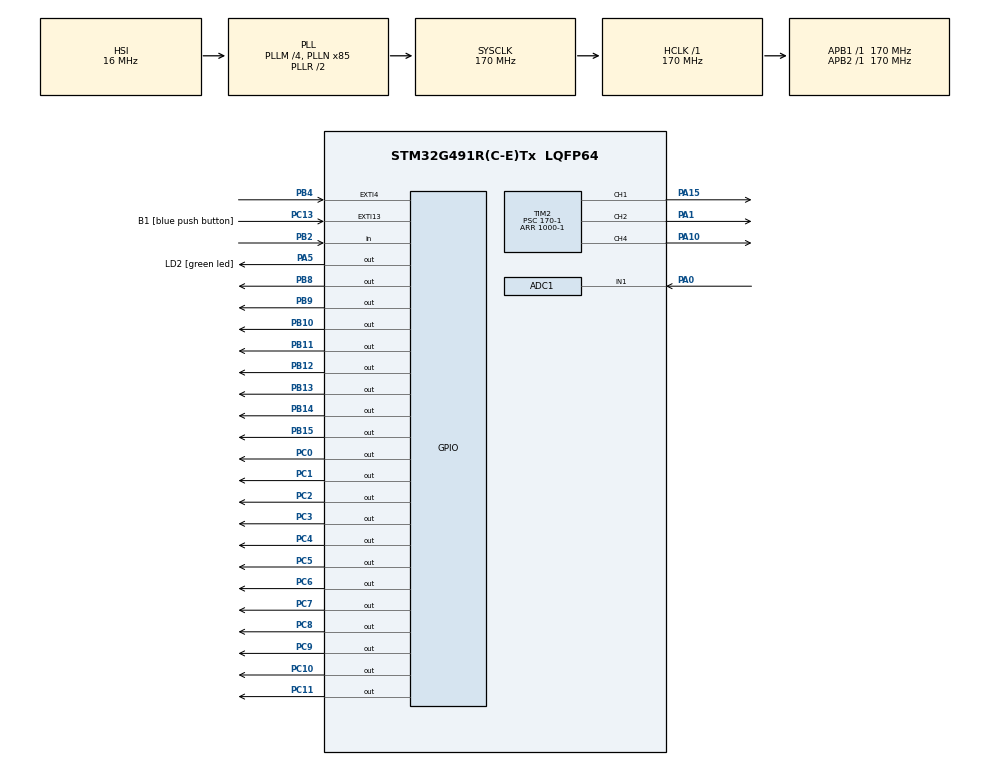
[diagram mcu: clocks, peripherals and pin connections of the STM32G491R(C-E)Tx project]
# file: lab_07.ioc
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ADC1.Channel-0\#ChannelRegularConversion=ADC_CHANNEL_1
ADC1.ContinuousConvMode=DISABLE
ADC1.NbrOfConversionFlag=1
ADC1.OffsetNumber-0\#ChannelRegularConversion=ADC_OFFSET_NONE
ADC1.Rank-0\#ChannelRegularConversion=1
ADC1.Resolution=ADC_RESOLUTION_10B
ADC1.SamplingTime-0\#ChannelRegularConversion=ADC_SAMPLETIME_2CYCLES_5
ADC1.master=1
Mcu.Family=STM32G4
Mcu.Name=STM32G491R(C-E)Tx
Mcu.Package=LQFP64
NVIC.ADC1_2_IRQn=true\:0\:0\:false\:false\:true\:true\:true\:true
NVIC.EXTI15_10_IRQn=true\:0\:0\:false\:false\:true\:true\:true\:true
NVIC.EXTI4_IRQn=true\:0\:0\:false\:false\:true\:true\:true\:true
NVIC.PriorityGroup=NVIC_PRIORITYGROUP_4
NVIC.TIM2_IRQn=true\:0\:0\:false\:false\:true\:true\:true\:true
NVIC.TIM3_IRQn=true\:0\:0\:false\:false\:true\:true\:true\:true
NVIC.TIM4_IRQn=true\:0\:0\:false\:false\:true\:true\:true\:true
PA0.Mode=IN1-Single-Ended
PA0.Signal=ADC1_IN1
PA1.Signal=S_TIM2_CH2
PA10.Signal=S_TIM2_CH4
PA13.GPIO_Label=T_SWDIO
PA13.Signal=SYS_JTMS-SWDIO
PA14.GPIO_Label=T_SWCLK
PA14.Signal=SYS_JTCK-SWCLK
PA15.Signal=S_TIM2_CH1
PA2.GPIO_Label=LPUART1_TX [STLINKV3E_VCP_RX]
PA2.Signal=LPUART1_TX
PA3.GPIO_Label=LPUART1_RX [STLINKV3E_VCP_TX]
PA3.Signal=LPUART1_RX
PA5.GPIO_Label=LD2 [green led]
PA5.Signal=GPIO_Output
PB10.Signal=GPIO_Output
PB11.Signal=GPIO_Output
PB12.Signal=GPIO_Output
PB13.Signal=GPIO_Output
PB14.Signal=GPIO_Output
PB15.Signal=GPIO_Output
PB2.Signal=GPIO_Input
PB3.GPIO_Label=T_SWO
PB3.Signal=SYS_JTDO-SWO
PB4.Signal=GPXTI4
PB8-BOOT0.Signal=GPIO_Output
PB9.Signal=GPIO_Output
PC0.Signal=GPIO_Output
PC1.Signal=GPIO_Output
PC10.Signal=GPIO_Output
PC11.Signal=GPIO_Output
PC13.GPIO_Label=B1 [blue push button]
PC13.Signal=GPXTI13
PC14-OSC32_IN.GPIO_Label=RCC_OSC32_IN
PC14-OSC32_IN.Signal=RCC_OSC32_IN
PC15-OSC32_OUT.GPIO_Label=RCC_OSC32_OUT
PC15-OSC32_OUT.Signal=RCC_OSC32_OUT
PC2.Signal=GPIO_Output
PC3.Signal=GPIO_Output
PC4.Signal=GPIO_Output
PC5.Signal=GPIO_Output
PC6.Signal=GPIO_Output
PC7.Signal=GPIO_Output
PC8.Signal=GPIO_Output
PC9.Signal=GPIO_Output
PF0-OSC_IN.GPIO_Label=RCC_OSC_IN
PF0-OSC_IN.Signal=RCC_OSC_IN
PF1-OSC_OUT.GPIO_Label=RCC_OSC_OUT
PF1-OSC_OUT.Signal=RCC_OSC_OUT
ProjectManager.HeapSize=0x200
ProjectManager.StackSize=0x400
ProjectManager.TargetToolchain=STM32CubeIDE
RCC.ADC12Freq_Value=170000000
RCC.ADC345Freq_Value=170000000
RCC.AHBFreq_Value=170000000
RCC.APB1Freq_Value=170000000
RCC.APB1TimFreq_Value=170000000
RCC.APB2Freq_Value=170000000
RCC.APB2TimFreq_Value=170000000
RCC.CortexFreq_Value=170000000
RCC.EXTERNAL_CLOCK_VALUE=12288000
RCC.HCLKFreq_Value=170000000
RCC.HSE_VALUE=24000000
RCC.HSI48_VALUE=48000000
RCC.HSI_VALUE=16000000
RCC.LSE_VALUE=32768
RCC.PLLM=RCC_PLLM_DIV4
RCC.PLLN=85
RCC.RTCClockSelection=RCC_RTCCLKSOURCE_LSE
RCC.SYSCLKFreq_VALUE=170000000
RCC.SYSCLKSource=RCC_SYSCLKSOURCE_PLLCLK
RCC.USBFreq_Value=48000000
RCC.VCOOutputFreq_Value=340000000
SH.S_TIM2_CH1.0=TIM2_CH1,PWM Generation1 CH1
SH.S_TIM2_CH2.0=TIM2_CH2,PWM Generation2 CH2
SH.S_TIM2_CH4.0=TIM2_CH4,PWM Generation4 CH4
TIM1.Prescaler=170-1
TIM2.Channel-PWM\ Generation1\ CH1=TIM_CHANNEL_1
TIM2.Channel-PWM\ Generation2\ CH2=TIM_CHANNEL_2
TIM2.Channel-PWM\ Generation4\ CH4=TIM_CHANNEL_4
TIM2.PeriodNoDither=1000-1
TIM2.Prescaler=170-1
TIM3.PeriodNoDither=2000-1
TIM3.Prescaler=1700-1
TIM4.PeriodNoDither=100-1
TIM4.Prescaler=170-1
VP_SYS_VS_DBSignals.Mode=DisableDeadBatterySignals
VP_TIM1_VS_ClockSourceINT.Mode=Internal
VP_TIM2_VS_ClockSourceINT.Mode=Internal
VP_TIM3_VS_ClockSourceINT.Mode=Internal
VP_TIM4_VS_ClockSourceINT.Mode=Internal
board=NUCLEO-G491RE

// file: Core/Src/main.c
/* USER CODE BEGIN Header */
/**
  ******************************************************************************
  * @file           : main.c
  * @brief          : Main program body
  ******************************************************************************
  * @attention
  *
  * Copyright (c) 2025 STMicroelectronics.
  * All rights reserved.
  *
  * This software is licensed under terms that can be found in the LICENSE file
  * in the root directory of this software component.
  * If no LICENSE file comes with this software, it is provided AS-IS.
  *
  ******************************************************************************
  */
/* USER CODE END Header */
#include "main.h"

/* USER CODE BEGIN PD */
char seg7[] = { 0b00111111, //0 //valores para serem escritos no 7 seg
                0b00000110, //1
	   	   		0b01011011, //2
				0b01001111, //3
				0b01100110, //4
				0b01101101, //5
				0b01111101, //6
				0b00000111, //7
				0b01111111, //8
				0b01100111  //9
};
char disp7seg[] = {0b0000001, //SEG1 //selecão do 7 seg
 		           0b0001000, //SEG4
 				   0b0000100, //SEG3
 				   0b0000010  //SEG2
};

char letras[3][8] = {{ //letras a serem escritas no 8x8
		0b01111100,  // █████
		0b01000100,  // █   █
		0b01000100,  // █   █
		0b01111100,  // █████
		0b01010000,  // █ █
		0b01001000,  // █  █
		0b01000100,  // █   █
		0b00000000
},{
		0b00111100,  //  █████
		0b01000010,  // █     █
		0b01000000,  // █
		0b01001110,  // █  ███
		0b01000010,  // █    █
		0b01000010,  // █    █
		0b00111100,  //  █████
		0b00000000   //
},{
		0b01111100,  // █████
		0b01000100,  // █   █
		0b01000100,  // █   █
		0b01111000,  // ████
		0b01000100,  // █   █
		0b01000100,  // █   █
		0b01111100,  // █████
		0b00000000   //
}};

void Print8x8(int letra, int linha){ //escreve a linha para a letra desejada na matriz de led
	GPIOC->ODR |= 0x00FF;             // Seleção da linha
	GPIOC->ODR &= 0xF0FF;             //
	GPIOB->ODR &= 0x00FF;             // Segmentos -> PB8 a PB15
	GPIOB->ODR |= letras[letra][linha] << 8;
	GPIOC->ODR &= ~(0x01 << (7-linha));
}

int flag_red=1,flag_green=0,flag_blue=0,curr7seg=0,flag_conf=0,i_int=1,i_config=1,letra;
float leitura_ADCpercent, leitura_ADC;

void print7seg(int display, int valor, int dp){ //escreve um numero em um 7seg específico
	GPIOB->ODR &= 0x00FF;             // Segmentos -> PB8 a PB15
	GPIOB->ODR |= seg7[valor] << 8;
	GPIOB->ODR |= (dp & 0x01) << 15;
	GPIOC->ODR &= 0xF0FF;             // Seleção do display -> PC8 a PC11
	GPIOC->ODR |= disp7seg[display] << 8;
}

void escrevefloat(float valor){ //escreve um numero float nos display 7seg
	int valorINT,algarismos[4],ponto;
	valor=valor*10;
	valorINT=(int)valor;
	algarismos[3]=valorINT/1000;
	algarismos[2]=(valorINT%1000)/100;
	algarismos[1]=((valorINT%1000)%100)/10;
	algarismos[0]=((valorINT%1000)%100)%10; //separa os 3 primeiros algarismos mais a priemira casa decimal
	if(curr7seg==1){
		ponto=1;
	}
	else{
		ponto=0;
	}

	print7seg(curr7seg, algarismos[curr7seg], ponto); //escreve o valor no 7seg
}

void HAL_GPIO_EXTI_Callback(uint16_t GPIO_Pin){
	if((GPIO_Pin & (0x0010))){ //se botão apertado, incrementa i_int e seleciona a cor desejada
		i_int=i_int+1;
		if(i_int==4){
			i_int=1;
		}
		if(i_int==1){
			flag_red=1;
			flag_green=0;
			flag_blue=0;
		}
		if(i_int==2){
			flag_red=0;
			flag_green=1;
			flag_blue=0;
		}
		if(i_int==3){
			flag_red=0;
			flag_green=0;
			flag_blue=1;
		} //seta as flags para cada modo
	}
}
/* USER CODE END PD */

ADC_HandleTypeDef hadc1;

TIM_HandleTypeDef htim1;
TIM_HandleTypeDef htim2;
TIM_HandleTypeDef htim3;
TIM_HandleTypeDef htim4;

/* USER CODE BEGIN PV */
int linha=0;
void HAL_TIM_PeriodElapsedCallback(TIM_HandleTypeDef *htim){
	if(htim->Instance == TIM4){ //interrupção para atualizar o display e a matriz de led
		if(flag_conf){
			if(curr7seg < 4)
			{
				GPIOC->ODR |= 0xFF;
				escrevefloat(leitura_ADCpercent); //escreve o valor da leitura do ADC%
				curr7seg++;
			}else{
				GPIOC->ODR &= 0x00FF;
				if(flag_red){
					Print8x8(0,linha);
					linha++;
				}
				if(flag_green){
					Print8x8(1,linha);
					linha++;
				}
				if(flag_blue){
					Print8x8(2,linha); //escreve em cada linha da matriz de led
					linha++;
				}
				if(linha==8){
					linha=0;
					curr7seg = 0;
				}
			}
		}
		else{
			GPIOC->ODR |= 0xFF;
			escrevefloat(0);
			if(++curr7seg>=4)
				curr7seg = 0;
		}
	}
	if(htim->Instance == TIM3){ //interrupção para ler o valor ADC e setar a flag de configuração
		HAL_ADC_Start_IT(&hadc1); //da trigger na interrupção do timer para fazer leiura
		if((GPIOB -> IDR & 0x0004)==0){
			i_config=i_config+1;
		}
		else{
			i_config=1;
		}
		if(i_config==150){ //seta a flag de configuração como 1 quando passar o tempo estipulado
			flag_conf=1;
		}
	}
}

/* USER CODE END PV */

void SystemClock_Config(void);
static void MX_GPIO_Init(void);
static void MX_ADC1_Init(void);
static void MX_TIM2_Init(void);
static void MX_TIM3_Init(void);
static void MX_TIM4_Init(void);
static void MX_TIM1_Init(void);

/* USER CODE BEGIN 0 */
void HAL_ADC_ConvCpltCallback(ADC_HandleTypeDef *hadc) //interrupção do ADC que le o valor
{
	leitura_ADC=HAL_ADC_GetValue(&hadc1);
	leitura_ADCpercent=(float)leitura_ADC*100/1024;
}

/* USER CODE END 0 */

int main(void)
{

  /* USER CODE BEGIN 1 */
	int valorPWM;
  /* USER CODE END 1 */

  /* MCU Configuration--------------------------------------------------------*/

  /* Reset of all peripherals, Initializes the Flash interface and the Systick. */
  HAL_Init();

  /* Configure the system clock */
  SystemClock_Config();

  /* Initialize all configured peripherals */
  MX_GPIO_Init();
  MX_ADC1_Init();
  MX_TIM2_Init();
  MX_TIM3_Init();
  MX_TIM4_Init();
  MX_TIM1_Init();

  /* Infinite loop */
  /* USER CODE BEGIN WHILE */
  HAL_TIM_Base_Start_IT(&htim2); //PWM
  HAL_TIM_Base_Start_IT(&htim3);
  HAL_TIM_Base_Start_IT(&htim4);
  HAL_TIM_PWM_Start(&htim2, TIM_CHANNEL_1);
  HAL_TIM_PWM_Start(&htim2, TIM_CHANNEL_2);
  HAL_TIM_PWM_Start(&htim2, TIM_CHANNEL_4);
  GPIOB -> PUPDR |= (0x00000110);
  while (1)
  {
	  valorPWM=(int)(leitura_ADCpercent*10); //converte o valor do PWM para um valor de 0 a 1000 inteiro
	  if(flag_conf){
		  while((GPIOB -> IDR & 0x0004)==0){
		  }
		  if(flag_red){
		  	  TIM2 -> CCR1 = valorPWM; //escreve o valor do PWM em CCR1
	  	  }
	  	  if(flag_green){
		  	  TIM2 -> CCR2 = valorPWM; //escreve o valor do PWM em CCR1
	  	  }
	  	  if(flag_blue){
		  	  TIM2 -> CCR4 = valorPWM; //escreve o valor do PWM em CCR1
	  	  }
	  	  if((GPIOB -> IDR & 0x0004)==0){ //caso o botão seja apertado novamente, ele zera a flag
	  		  flag_conf=0;
	  	  }

	  }

    /* USER CODE END WHILE */

  }
}

void SystemClock_Config(void)
{
  RCC_OscInitTypeDef RCC_OscInitStruct = {0};
  RCC_ClkInitTypeDef RCC_ClkInitStruct = {0};

  /** Configure the main internal regulator output voltage
  */
  HAL_PWREx_ControlVoltageScaling(PWR_REGULATOR_VOLTAGE_SCALE1_BOOST);

  /** Initializes the RCC Oscillators according to the specified parameters
  * in the RCC_OscInitTypeDef structure.
  */
  RCC_OscInitStruct.OscillatorType = RCC_OSCILLATORTYPE_HSI;
  RCC_OscInitStruct.HSIState = RCC_HSI_ON;
  RCC_OscInitStruct.HSICalibrationValue = RCC_HSICALIBRATION_DEFAULT;
  RCC_OscInitStruct.PLL.PLLState = RCC_PLL_ON;
  RCC_OscInitStruct.PLL.PLLSource = RCC_PLLSOURCE_HSI;
  RCC_OscInitStruct.PLL.PLLM = RCC_PLLM_DIV4;
  RCC_OscInitStruct.PLL.PLLN = 85;
  RCC_OscInitStruct.PLL.PLLP = RCC_PLLP_DIV2;
  RCC_OscInitStruct.PLL.PLLQ = RCC_PLLQ_DIV2;
  RCC_OscInitStruct.PLL.PLLR = RCC_PLLR_DIV2;
  if (HAL_RCC_OscConfig(&RCC_OscInitStruct) != HAL_OK)
  {
    Error_Handler();
  }

  /** Initializes the CPU, AHB and APB buses clocks
  */
  RCC_ClkInitStruct.ClockType = RCC_CLOCKTYPE_HCLK|RCC_CLOCKTYPE_SYSCLK
                              |RCC_CLOCKTYPE_PCLK1|RCC_CLOCKTYPE_PCLK2;
  RCC_ClkInitStruct.SYSCLKSource = RCC_SYSCLKSOURCE_PLLCLK;
  RCC_ClkInitStruct.AHBCLKDivider = RCC_SYSCLK_DIV1;
  RCC_ClkInitStruct.APB1CLKDivider = RCC_HCLK_DIV1;
  RCC_ClkInitStruct.APB2CLKDivider = RCC_HCLK_DIV1;

  if (HAL_RCC_ClockConfig(&RCC_ClkInitStruct, FLASH_LATENCY_4) != HAL_OK)
  {
    Error_Handler();
  }
}

static void MX_ADC1_Init(void)
{

  ADC_MultiModeTypeDef multimode = {0};
  ADC_ChannelConfTypeDef sConfig = {0};

  /** Common config
  */
  hadc1.Instance = ADC1;
  hadc1.Init.ClockPrescaler = ADC_CLOCK_SYNC_PCLK_DIV4;
  hadc1.Init.Resolution = ADC_RESOLUTION_10B;
  hadc1.Init.DataAlign = ADC_DATAALIGN_RIGHT;
  hadc1.Init.GainCompensation = 0;
  hadc1.Init.ScanConvMode = ADC_SCAN_DISABLE;
  hadc1.Init.EOCSelection = ADC_EOC_SINGLE_CONV;
  hadc1.Init.LowPowerAutoWait = DISABLE;
  hadc1.Init.ContinuousConvMode = DISABLE;
  hadc1.Init.NbrOfConversion = 1;
  hadc1.Init.DiscontinuousConvMode = DISABLE;
  hadc1.Init.ExternalTrigConv = ADC_SOFTWARE_START;
  hadc1.Init.ExternalTrigConvEdge = ADC_EXTERNALTRIGCONVEDGE_NONE;
  hadc1.Init.DMAContinuousRequests = DISABLE;
  hadc1.Init.Overrun = ADC_OVR_DATA_PRESERVED;
  hadc1.Init.OversamplingMode = DISABLE;
  if (HAL_ADC_Init(&hadc1) != HAL_OK)
  {
    Error_Handler();
  }

  /** Configure the ADC multi-mode
  */
  multimode.Mode = ADC_MODE_INDEPENDENT;
  if (HAL_ADCEx_MultiModeConfigChannel(&hadc1, &multimode) != HAL_OK)
  {
    Error_Handler();
  }

  /** Configure Regular Channel
  */
  sConfig.Channel = ADC_CHANNEL_1;
  sConfig.Rank = ADC_REGULAR_RANK_1;
  sConfig.SamplingTime = ADC_SAMPLETIME_2CYCLES_5;
  sConfig.SingleDiff = ADC_SINGLE_ENDED;
  sConfig.OffsetNumber = ADC_OFFSET_NONE;
  sConfig.Offset = 0;
  if (HAL_ADC_ConfigChannel(&hadc1, &sConfig) != HAL_OK)
  {
    Error_Handler();
  }

}

static void MX_TIM1_Init(void)
{

  TIM_ClockConfigTypeDef sClockSourceConfig = {0};
  TIM_MasterConfigTypeDef sMasterConfig = {0};

  htim1.Instance = TIM1;
  htim1.Init.Prescaler = 170-1;
  htim1.Init.CounterMode = TIM_COUNTERMODE_UP;
  htim1.Init.Period = 65535;
  htim1.Init.ClockDivision = TIM_CLOCKDIVISION_DIV1;
  htim1.Init.RepetitionCounter = 0;
  htim1.Init.AutoReloadPreload = TIM_AUTORELOAD_PRELOAD_DISABLE;
  if (HAL_TIM_Base_Init(&htim1) != HAL_OK)
  {
    Error_Handler();
  }
  sClockSourceConfig.ClockSource = TIM_CLOCKSOURCE_INTERNAL;
  if (HAL_TIM_ConfigClockSource(&htim1, &sClockSourceConfig) != HAL_OK)
  {
    Error_Handler();
  }
  sMasterConfig.MasterOutputTrigger = TIM_TRGO_RESET;
  sMasterConfig.MasterOutputTrigger2 = TIM_TRGO2_RESET;
  sMasterConfig.MasterSlaveMode = TIM_MASTERSLAVEMODE_DISABLE;
  if (HAL_TIMEx_MasterConfigSynchronization(&htim1, &sMasterConfig) != HAL_OK)
  {
    Error_Handler();
  }

}

static void MX_TIM2_Init(void)
{

  TIM_ClockConfigTypeDef sClockSourceConfig = {0};
  TIM_MasterConfigTypeDef sMasterConfig = {0};
  TIM_OC_InitTypeDef sConfigOC = {0};

  htim2.Instance = TIM2;
  htim2.Init.Prescaler = 170-1;
  htim2.Init.CounterMode = TIM_COUNTERMODE_UP;
  htim2.Init.Period = 999;
  htim2.Init.ClockDivision = TIM_CLOCKDIVISION_DIV1;
  htim2.Init.AutoReloadPreload = TIM_AUTORELOAD_PRELOAD_DISABLE;
  if (HAL_TIM_Base_Init(&htim2) != HAL_OK)
  {
    Error_Handler();
  }
  sClockSourceConfig.ClockSource = TIM_CLOCKSOURCE_INTERNAL;
  if (HAL_TIM_ConfigClockSource(&htim2, &sClockSourceConfig) != HAL_OK)
  {
    Error_Handler();
  }
  if (HAL_TIM_PWM_Init(&htim2) != HAL_OK)
  {
    Error_Handler();
  }
  sMasterConfig.MasterOutputTrigger = TIM_TRGO_RESET;
  sMasterConfig.MasterSlaveMode = TIM_MASTERSLAVEMODE_DISABLE;
  if (HAL_TIMEx_MasterConfigSynchronization(&htim2, &sMasterConfig) != HAL_OK)
  {
    Error_Handler();
  }
  sConfigOC.OCMode = TIM_OCMODE_PWM1;
  sConfigOC.Pulse = 0;
  sConfigOC.OCPolarity = TIM_OCPOLARITY_HIGH;
  sConfigOC.OCFastMode = TIM_OCFAST_DISABLE;
  if (HAL_TIM_PWM_ConfigChannel(&htim2, &sConfigOC, TIM_CHANNEL_1) != HAL_OK)
  {
    Error_Handler();
  }
  if (HAL_TIM_PWM_ConfigChannel(&htim2, &sConfigOC, TIM_CHANNEL_2) != HAL_OK)
  {
    Error_Handler();
  }
  if (HAL_TIM_PWM_ConfigChannel(&htim2, &sConfigOC, TIM_CHANNEL_4) != HAL_OK)
  {
    Error_Handler();
  }
  HAL_TIM_MspPostInit(&htim2);

}

static void MX_TIM3_Init(void)
{

  TIM_ClockConfigTypeDef sClockSourceConfig = {0};
  TIM_MasterConfigTypeDef sMasterConfig = {0};

  htim3.Instance = TIM3;
  htim3.Init.Prescaler = 1700-1;
  htim3.Init.CounterMode = TIM_COUNTERMODE_UP;
  htim3.Init.Period = 1999;
  htim3.Init.ClockDivision = TIM_CLOCKDIVISION_DIV1;
  htim3.Init.AutoReloadPreload = TIM_AUTORELOAD_PRELOAD_DISABLE;
  if (HAL_TIM_Base_Init(&htim3) != HAL_OK)
  {
    Error_Handler();
  }
  sClockSourceConfig.ClockSource = TIM_CLOCKSOURCE_INTERNAL;
  if (HAL_TIM_ConfigClockSource(&htim3, &sClockSourceConfig) != HAL_OK)
  {
    Error_Handler();
  }
  sMasterConfig.MasterOutputTrigger = TIM_TRGO_RESET;
  sMasterConfig.MasterSlaveMode = TIM_MASTERSLAVEMODE_DISABLE;
  if (HAL_TIMEx_MasterConfigSynchronization(&htim3, &sMasterConfig) != HAL_OK)
  {
    Error_Handler();
  }

}

static void MX_TIM4_Init(void)
{

  TIM_ClockConfigTypeDef sClockSourceConfig = {0};
  TIM_MasterConfigTypeDef sMasterConfig = {0};

  htim4.Instance = TIM4;
  htim4.Init.Prescaler = 170-1;
  htim4.Init.CounterMode = TIM_COUNTERMODE_UP;
  htim4.Init.Period = 99;
  htim4.Init.ClockDivision = TIM_CLOCKDIVISION_DIV1;
  htim4.Init.AutoReloadPreload = TIM_AUTORELOAD_PRELOAD_DISABLE;
  if (HAL_TIM_Base_Init(&htim4) != HAL_OK)
  {
    Error_Handler();
  }
  sClockSourceConfig.ClockSource = TIM_CLOCKSOURCE_INTERNAL;
  if (HAL_TIM_ConfigClockSource(&htim4, &sClockSourceConfig) != HAL_OK)
  {
    Error_Handler();
  }
  sMasterConfig.MasterOutputTrigger = TIM_TRGO_RESET;
  sMasterConfig.MasterSlaveMode = TIM_MASTERSLAVEMODE_DISABLE;
  if (HAL_TIMEx_MasterConfigSynchronization(&htim4, &sMasterConfig) != HAL_OK)
  {
    Error_Handler();
  }

}

static void MX_GPIO_Init(void)
{
  GPIO_InitTypeDef GPIO_InitStruct = {0};

  /* GPIO Ports Clock Enable */
  __HAL_RCC_GPIOC_CLK_ENABLE();
  __HAL_RCC_GPIOF_CLK_ENABLE();
  __HAL_RCC_GPIOA_CLK_ENABLE();
  __HAL_RCC_GPIOB_CLK_ENABLE();

  /*Configure GPIO pin Output Level */
  HAL_GPIO_WritePin(GPIOC, GPIO_PIN_0|GPIO_PIN_1|GPIO_PIN_2|GPIO_PIN_3
                          |GPIO_PIN_4|GPIO_PIN_5|GPIO_PIN_6|GPIO_PIN_7
                          |GPIO_PIN_8|GPIO_PIN_9|GPIO_PIN_10|GPIO_PIN_11, GPIO_PIN_RESET);

  /*Configure GPIO pin Output Level */
  HAL_GPIO_WritePin(LD2_GPIO_Port, LD2_Pin, GPIO_PIN_RESET);

  /*Configure GPIO pin Output Level */
  HAL_GPIO_WritePin(GPIOB, GPIO_PIN_10|GPIO_PIN_11|GPIO_PIN_12|GPIO_PIN_13
                          |GPIO_PIN_14|GPIO_PIN_15|GPIO_PIN_8|GPIO_PIN_9, GPIO_PIN_RESET);

  /*Configure GPIO pin : B1_Pin */
  GPIO_InitStruct.Pin = B1_Pin;
  GPIO_InitStruct.Mode = GPIO_MODE_IT_RISING;
  GPIO_InitStruct.Pull = GPIO_NOPULL;
  HAL_GPIO_Init(B1_GPIO_Port, &GPIO_InitStruct);

  /*Configure GPIO pins : PC0 PC1 PC2 PC3
                           PC4 PC5 PC6 PC7
                           PC8 PC9 PC10 PC11 */
  GPIO_InitStruct.Pin = GPIO_PIN_0|GPIO_PIN_1|GPIO_PIN_2|GPIO_PIN_3
                          |GPIO_PIN_4|GPIO_PIN_5|GPIO_PIN_6|GPIO_PIN_7
                          |GPIO_PIN_8|GPIO_PIN_9|GPIO_PIN_10|GPIO_PIN_11;
  GPIO_InitStruct.Mode = GPIO_MODE_OUTPUT_PP;
  GPIO_InitStruct.Pull = GPIO_NOPULL;
  GPIO_InitStruct.Speed = GPIO_SPEED_FREQ_LOW;
  HAL_GPIO_Init(GPIOC, &GPIO_InitStruct);

  /*Configure GPIO pins : LPUART1_TX_Pin LPUART1_RX_Pin */
  GPIO_InitStruct.Pin = LPUART1_TX_Pin|LPUART1_RX_Pin;
  GPIO_InitStruct.Mode = GPIO_MODE_AF_PP;
  GPIO_InitStruct.Pull = GPIO_NOPULL;
  GPIO_InitStruct.Speed = GPIO_SPEED_FREQ_LOW;
  GPIO_InitStruct.Alternate = GPIO_AF12_LPUART1;
  HAL_GPIO_Init(GPIOA, &GPIO_InitStruct);

  /*Configure GPIO pin : LD2_Pin */
  GPIO_InitStruct.Pin = LD2_Pin;
  GPIO_InitStruct.Mode = GPIO_MODE_OUTPUT_PP;
  GPIO_InitStruct.Pull = GPIO_NOPULL;
  GPIO_InitStruct.Speed = GPIO_SPEED_FREQ_LOW;
  HAL_GPIO_Init(LD2_GPIO_Port, &GPIO_InitStruct);

  /*Configure GPIO pin : PB2 */
  GPIO_InitStruct.Pin = GPIO_PIN_2;
  GPIO_InitStruct.Mode = GPIO_MODE_INPUT;
  GPIO_InitStruct.Pull = GPIO_NOPULL;
  HAL_GPIO_Init(GPIOB, &GPIO_InitStruct);

  /*Configure GPIO pins : PB10 PB11 PB12 PB13
                           PB14 PB15 PB8 PB9 */
  GPIO_InitStruct.Pin = GPIO_PIN_10|GPIO_PIN_11|GPIO_PIN_12|GPIO_PIN_13
                          |GPIO_PIN_14|GPIO_PIN_15|GPIO_PIN_8|GPIO_PIN_9;
  GPIO_InitStruct.Mode = GPIO_MODE_OUTPUT_PP;
  GPIO_InitStruct.Pull = GPIO_NOPULL;
  GPIO_InitStruct.Speed = GPIO_SPEED_FREQ_LOW;
  HAL_GPIO_Init(GPIOB, &GPIO_InitStruct);

  /*Configure GPIO pin : PB4 */
  GPIO_InitStruct.Pin = GPIO_PIN_4;
  GPIO_InitStruct.Mode = GPIO_MODE_IT_RISING;
  GPIO_InitStruct.Pull = GPIO_NOPULL;
  HAL_GPIO_Init(GPIOB, &GPIO_InitStruct);

  /* EXTI interrupt init*/
  HAL_NVIC_SetPriority(EXTI4_IRQn, 0, 0);
  HAL_NVIC_EnableIRQ(EXTI4_IRQn);

  HAL_NVIC_SetPriority(EXTI15_10_IRQn, 0, 0);
  HAL_NVIC_EnableIRQ(EXTI15_10_IRQn);

}

void Error_Handler(void)
{
  __disable_irq();
  while (1)
  {
  }
}
